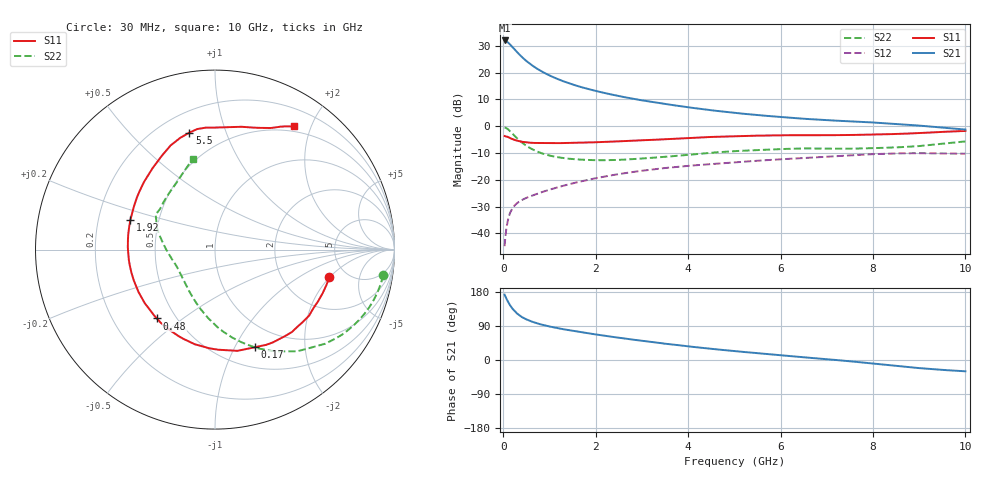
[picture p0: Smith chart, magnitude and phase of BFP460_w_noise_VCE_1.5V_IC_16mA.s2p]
! (c) 2016  Infineon Technologies AG, Munich
! Infineon Technologies  Discrete & RF Semiconductors
! BFP460
! VCE =  1.5 V,  IC =  16 mA
! Common Emitter S-Parameters:  Jan 2016
# GHz  S  MA  R  50
!  f  S11  S21  S12  S22
! GHz  MAG  ANG  MAG  ANG  MAG  ANG  MAG  ANG
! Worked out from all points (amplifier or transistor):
!   229 points, 30 MHz to 10 GHz, reference 50 ohm
!   highest |S21| = 32.0 dB at 30 MHz (marker M1)
!   |S21| within 3 dB of that: start of sweep to 228.6 MHz
!   unconditionally stable (mu >= 1): 1.952 GHz to 8.942 GHz
!   at 280 MHz: K = 0.37, MSG = 28.5 dB, |S12| = -29.0 dB
!   at 1.78 GHz: K = 0.99, MSG = 17.2 dB, |S12| = -20.2 dB
!   at 10 GHz: K = 0.99, MSG = 4.5 dB, |S12| = -10.3 dB
!   lowest NFmin = 1.13 dB at 900 MHz
!   S11 on the Smith chart (normalised r, x): 30 MHz: 3.67, -1.99; 170 MHz: 0.73, -1.21; 480 MHz: 0.39, -0.40; 1.92 GHz: 0.34, +0.15; 5.5 GHz: 0.32, +0.75; 10 GHz: 0.43, +1.75
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0.03  0.6562 -13.6  39.72 172.4  0.0058 84.6  0.9484 -8.7
0.05  0.6473 -22.0  38.96 166.3  0.0092 80.2  0.9362 -14.6
0.09  0.634 -39.5  37.27 156.7  0.0162 73.5  0.894 -25.9
0.14  0.6091 -58.2  34.08 146.0  0.0232 66.0  0.8217 -38.4
0.17  0.5872 -67.9  31.88 140.8  0.0264 62.4  0.7722 -44.6
0.2  0.5778 -77.5  29.97 135.4  0.0295 59.5  0.7289 -51.0
0.26  0.5512 -93.1  26.25 127.3  0.0342 55.3  0.645 -61.0
0.3  0.5392 -102.1  24.07 122.6  0.0368 53.3  0.5961 -67.0
0.4  0.5141 -119.6  19.66 113.6  0.0419 50.3  0.4996 -78.9
0.48  0.5022 -130.2  17.04 108.5  0.0453 49.3  0.4436 -86.4
0.6  0.4921 -142.8  14.09 102.0  0.05 49.0  0.3825 -95.9
0.68  0.4874 -149.3  12.64 98.8  0.053 49.2  0.3535 -101.1
0.9  0.4836 -163.5  9.76 91.2  0.0615 50.1  0.2997 -113.3
1.24  0.4842 -178.6  7.217 82.6  0.0751 51.2  0.2594 -127.1
1.7  0.4934 166.4  5.324 73.1  0.0944 51.0  0.2375 -140.7
1.92  0.4999 160.4  4.736 69.0  0.1038 50.3  0.2336 -146.2
3.4  0.5658 129.1  2.679 44.7  0.1624 40.8  0.2648 -177.1
5.1  0.6546 106.3  1.74 22.4  0.2145 28.9  0.3464 158.8
5.5  0.6671 102.4  1.612 17.9  0.2273 26.3  0.358 155.4
6.8  0.6801 91.5  1.328 4.2  0.2639 17.1  0.3833 147.6
8.4  0.7124 72.6  1.116 -14.3  0.3096 3.1  0.4 131.7
10  0.8162 57.2  0.866 -29.8  0.3071 -9.3  0.5204 103.7
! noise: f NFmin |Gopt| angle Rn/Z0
0.45  1.15  0.02  -171  0.12
0.9  1.13  0.05  97  0.15
1.9  1.29  0.14  -157  0.12
3.5  1.26  0.38  -127  0.14
